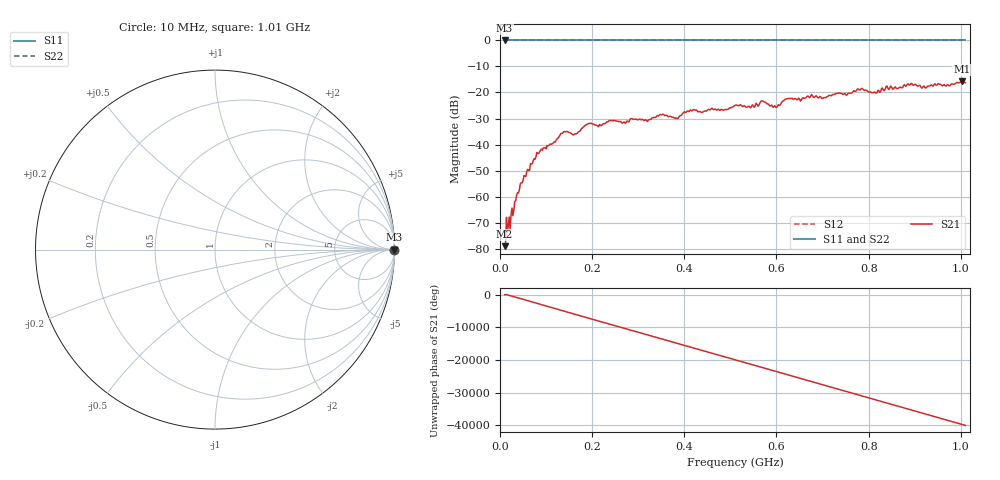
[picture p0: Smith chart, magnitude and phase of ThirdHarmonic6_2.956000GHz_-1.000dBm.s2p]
! 8/17/2025 8:19:43 AM
! C:\ANRITSUVNA\TEMP\TEMP.S2P
! CHANNEL.1
! TR.MEASUREMENT
! RAW.DATA
! RF.CORRECTION.OFF
! AVERAGING.OFF
! IF.BANDWIDTH: 5KHZ
! SWEEPTYPE:  FREQ.SWEEP(Linear)
! Reference Plane Port Info
! PORT:  PORT1  PORT2
! DISTANCE:  0  m  0  m
! TIME:  0  s  0  s
! PHASE.OFFSET:  0  deg.  0  deg.
! LOSS:  0  dB  0  dB
! REF.LOSS:  0  dB  0  dB
! REF.FREQ:  0  Hz  0  Hz
! Power Info
! POWER:  -20  dBm  -20  dBm
! EFF.POWER:  -20  dBm  -20  dBm
! SOURCE.ATTEN:  0  dB  0  dB
! TEST.ATTEN:  0  dB  0  dB
# GHZ S RI R 50.0
! FREQ.GHZ  S11RE  S11IM  S21RE  S21IM  S12RE  S12IM  S22RE  S22IM
!; PortSelection: Port_12
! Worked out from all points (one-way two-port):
!   501 points, 10 MHz to 1.01 GHz, reference 50 ohm
!   highest |S21| = -15.66 dB at 1.002 GHz (marker M1); lowest = -79.1 dB at 10 MHz (marker M2)
!   lowest |S11| = 0.0 dB at 10 MHz (marker M3)
!   |S11| at or under -10 dB: nowhere
!   |S22| runs from 0.0 to 0.0 dB; largest |S21 - S12| = 1.2
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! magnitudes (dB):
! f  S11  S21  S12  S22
! 10 MHz  0.0  -79.1  0.0  0.0
! 42 MHz  0.0  -57.5  0.0  0.0
! 78 MHz  0.0  -44.8  0.0  0.0
! 136 MHz  0.0  -35.6  0.0  0.0
! 162 MHz  0.0  -35.9  0.0  0.0
! 178 MHz  0.0  -33.7  0.0  0.0
! 194 MHz  0.0  -31.8  0.0  0.0
! 322 MHz  0.0  -30.6  0.0  0.0
! 344 MHz  0.0  -29.0  0.0  0.0
! 382 MHz  0.0  -29.7  0.0  0.0
! 416 MHz  0.0  -27.1  0.0  0.0
! 510 MHz  0.0  -25.0  0.0  0.0
! 548 MHz  0.0  -24.7  0.0  0.0
! 570 MHz  0.0  -23.2  0.0  0.0
! 596 MHz  0.0  -25.0  0.0  0.0
! 622 MHz  0.0  -22.4  0.0  0.0
! 678 MHz  0.0  -21.1  0.0  0.0
! 782 MHz  0.0  -19.0  0.0  0.0
! 814 MHz  0.0  -19.9  0.0  0.0
! 844 MHz  0.0  -18.9  0.0  0.0
! 1.002 GHz  0.0  -15.7  0.0  0.0
! 1.01 GHz  0.0  -16.2  0.0  0.0
